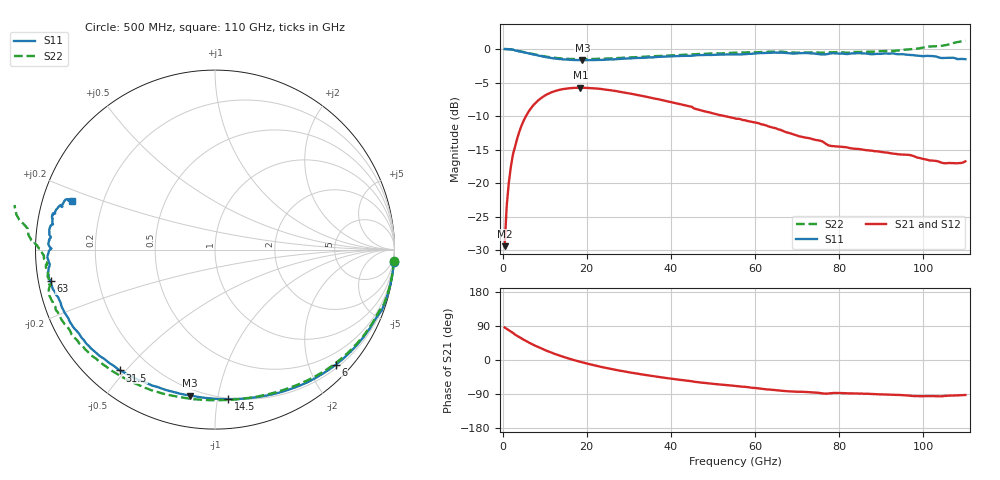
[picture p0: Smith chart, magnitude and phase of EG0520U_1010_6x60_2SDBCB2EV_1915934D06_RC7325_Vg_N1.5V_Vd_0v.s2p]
!File name = EG0520U_1010_6x60_2SDBCB2EV_1915934D06_RC7325_Vg_N1.5V_Vd_0v.s2p
!Base file name = EG0520U_1010_6x60_2SDBCB2EV_1915934D06_RC7325
!Date = 8/23/2019
!Time = 1:07 PM
!Test duration(min) = 0.15
!Test = S-Parameters
!MPTS version = 8.91.5
!State File = C:\Data\PNA\20190821205423\S-Parameters_2019-08-23.sta
!Cal File =
!ComputerName = CMPE-LAB-6
!Comments =
!Attenuation = 0
!Z0 = 50
!Input Power(dBm) = -13.00
!Device ID = EG0520U_1010_6x60_2SDBCB2EV
!Row = 73
!Column = 25
!Technology = QPHT09
!Lot/Wafer = 1915934D06
!Gate Size = 360
!Mask = EG0520
!Cal Standards = GaAs BCB
!Cal Kit = EG2306
!Job Number = 20190821205423
!Device Type = FET
!set_Vg(v) = -1.500
!set_Vd(v) = 0.000
!file_name = EG0520U_1010_6x60_2SDBCB2EV_1915934D06_RC7325_Vg_N1.5V_Vd_0v.s2p
!Vd(V) = 0.000
!Vd(mA) = 0.002
!Vg(V) = -1.500
!Vg(mA) = -0.001
# GHz  S  DB  R  50
!%	Freq(GHz)  s11(dB)  s11(deg)  s21(dB)  s21(deg)  s12(dB)  s12(deg)  s22(dB)  s22(deg)
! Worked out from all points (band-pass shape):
!   220 points, 500 MHz to 110 GHz, reference 50 ohm
!   highest |S21| = -5.77 dB at 18.5 GHz (marker M1); lowest = -29.4 dB at 500 MHz (marker M2)
!   |S21| within 3 dB of the highest: 6.832 GHz to 45.32 GHz (38.49 GHz wide, 148 % of centre)
!   lowest |S11| = -1.7 dB at 19 GHz (marker M3), VSWR 10.42, Z = 8.16 - j41.6 ohm
!   |S11| at or under -10 dB: nowhere
!   |S22| runs from -1.5 to 1.3 dB; largest |S21 - S12| = 0.004
!   S11 on the Smith chart (normalised r, x): 500 MHz: 0, -28; 6 GHz: 0.26, -2.47; 14.5 GHz: 0.19, -1.07; 31.5 GHz: 0.10, -0.48; 63 GHz: 0.04, -0.10; 110 GHz: 0.09, +0.16
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0.5  -0.00 -4.0  -29.36 85.8  -29.36 85.9  -0.00 -3.6
1  -0.02 -8.1  -23.38 82.3  -23.38 82.3  -0.02 -7.2
1.5  -0.04 -12.1  -19.91 78.6  -19.92 78.6  -0.04 -10.8
2.5  -0.10 -20.0  -15.64 71.3  -15.65 71.3  -0.09 -17.9
4  -0.35 -30.3  -12.31 60.3  -12.32 60.2  -0.32 -27.0
6  -0.63 -43.7  -9.53 47.7  -9.55 47.6  -0.59 -39.0
9.5  -1.12 -63.3  -7.17 29.0  -7.18 29.0  -1.04 -56.8
14.5  -1.55 -84.9  -5.96 8.2  -5.98 8.1  -1.43 -76.9
18.5  -1.67 -98.2  -5.77 -4.8  -5.79 -5.0  -1.52 -89.8
19  -1.67 -99.7  -5.77 -6.3  -5.79 -6.4  -1.52 -91.2
24  -1.62 -112.8  -6.01 -19.6  -6.03 -19.7  -1.46 -104.4
31.5  -1.35 -128.1  -6.79 -35.1  -6.80 -35.2  -1.23 -120.5
37  -1.17 -137.1  -7.48 -44.5  -7.50 -44.7  -1.05 -130.3
46.5  -0.92 -151.1  -9.03 -58.7  -9.06 -58.9  -0.74 -144.9
55.5  -0.82 -161.5  -10.38 -68.6  -10.38 -68.8  -0.54 -155.2
63  -0.60 -169.1  -11.47 -77.6  -11.50 -77.7  -0.42 -162.6
73.5  -0.66 -179.0  -13.40 -85.7  -13.41 -85.8  -0.49 -170.7
78  -0.66 178.6  -14.43 -87.4  -14.45 -87.5  -0.48 -173.1
92  -0.70 167.7  -15.51 -91.5  -15.53 -91.5  -0.28 -179.8
100  -1.08 164.2  -16.37 -95.5  -16.36 -95.6  0.22 177.1
106.5  -1.31 161.5  -16.98 -94.0  -16.99 -94.4  0.73 171.9
110  -1.52 161.2  -16.73 -92.4  -16.74 -92.7  1.27 166.7
